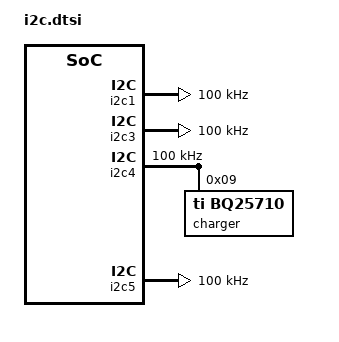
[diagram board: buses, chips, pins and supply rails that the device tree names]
/* Copyright 2026 The ChromiumOS Authors
 * Use of this source code is governed by a BSD-style license that can be
 * found in the LICENSE file.
 */
/ {
	named-i2c-ports {
		compatible = "named-i2c-ports";

		i2c_named_i2c_port_pd1: named_i2c_port_pd_aic1 {
			i2c-port = <&i2c1>;
			enum-names = "I2C_PORT_PD";
		};
		i2c_named_i2c_port_thermal: named_i2c_port_thermal {
			i2c-port = <&i2c3>;
			enum-names = "I2C_PORT_THERMAL_AP";
		};
		i2c_named_i2c_port_charger: named_i2c_port_charger {
			i2c-port = <&i2c4>;
			enum-names = "I2C_PORT_BATTERY",
				"I2C_PORT_CHARGER",
				"I2C_PORT_PORT80";
		};
		i2c_named_i2c_port_ish: named_i2c_port_ish {
			i2c-port = <&i2c5>;
			enum-names = "I2C_PORT_ISH";
		};
	};
};

&i2c1 {
	status = "okay";
	pinctrl-0 = <&i2c1_clk_gpc1_default
		&i2c1_data_gpc2_default>;
	pinctrl-names = "default";

	label = "I2C_PORT_PD";
	clock-frequency = <I2C_BITRATE_STANDARD>;
	data-hold-time = <10>;
};

&i2c3 {
	status = "okay";
	pinctrl-0 = <&i2c3_clk_gph1_default
		&i2c3_data_gph2_default>;
	pinctrl-names = "default";

	label = "I2C_PORT_THERMAL";
	clock-frequency = <I2C_BITRATE_STANDARD>;
};

&i2c4 {
	status = "okay";
	pinctrl-0 = <&i2c4_clk_gpe0_default
		&i2c4_data_gpe7_default>;
	pinctrl-names = "default";

	label = "I2C_PORT_CHARGER";
	clock-frequency = <I2C_BITRATE_STANDARD>;

	charger: bq25720@9 {
		compatible = "ti,bq25710";
		status = "okay";
		reg = <0x9>;
	}; 
};

&i2c5 {
	status = "okay";
	pinctrl-0 = <&i2c5_clk_gpe1_default
		&i2c5_data_gpe2_default>;
	pinctrl-names = "default";

	label = "I2C_PORT_ISH";
	clock-frequency = <I2C_BITRATE_STANDARD>;
};
